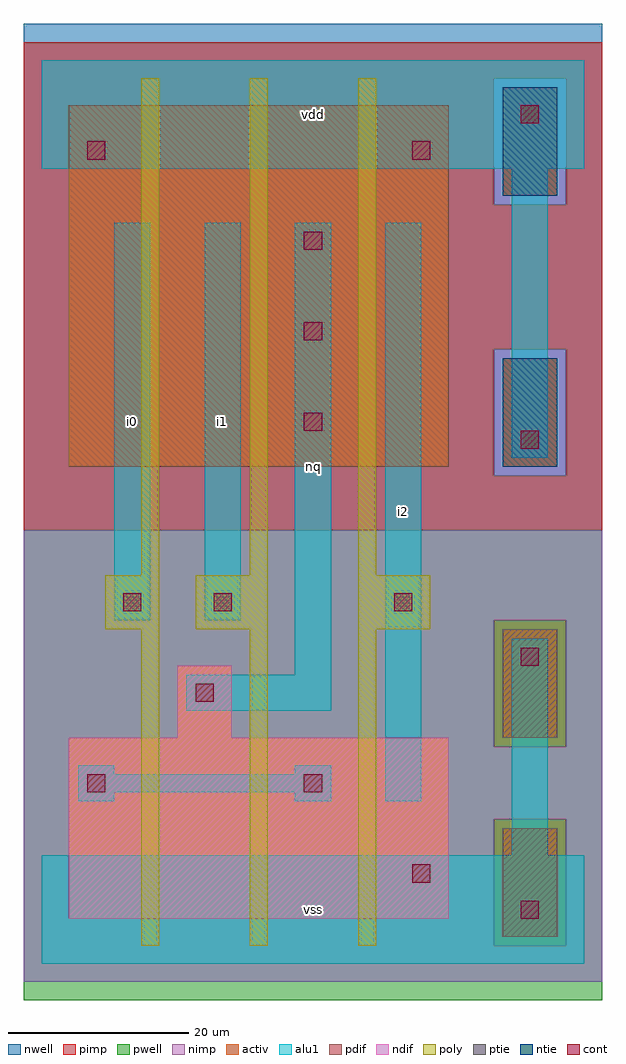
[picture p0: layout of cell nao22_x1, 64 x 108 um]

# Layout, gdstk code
import gdstk
lib = gdstk.Library(unit=1e-6, precision=1e-09)
def R(c, l, rs):  # rectangles x0, y0, x1, y1
    for r in rs: c.add(gdstk.rectangle(r[:2], r[2:], *l))
def A(c, l, x, y, w, h, nx, ny, dx, dy):  # array of equal rectangles
    R(c, l, [(x+i*dx, y+j*dy, x+i*dx+w, y+j*dy+h) for i in range(nx) for j in range(ny)])
ndif = (3, 0)
pdif = (4, 0)
ntie = (5, 0)
ptie = (6, 0)
cont = (25, 0)
pwell = (41, 0)
nwell = (42, 0)
activ = (43, 0)
pimp = (44, 0)
nimp = (45, 0)
poly = (46, 0)
alu1 = (49, 0)

nao22_x1 = lib.new_cell('nao22_x1')
R(nao22_x1, ndif, [(3,5,45,25), (15,25,21,33)])
R(nao22_x1, pdif, [(3,55,45,95)])
R(nao22_x1, ntie, [(51,55,57,67), (51,85,57,97)])
R(nao22_x1, ptie, [(51,3,57,15), (51,25,57,37)])
A(nao22_x1, cont, 29, 59, 2, 2, 1, 3, 0, 10)
R(nao22_x1, cont, [(53,5,55,7), (41,9,43,11), (5,19,7,21), (29,19,31,21), (17,29,19,31), (53,33,55,35), (9,39,11,41), (19,39,21,41), (39,39,41,41), (53,57,55,59), (5,89,7,91), (41,89,43,91), (53,93,55,95)])
R(nao22_x1, pwell, [(-2,-4,62,48)])
R(nao22_x1, nwell, [(-2,48,62,104)])
A(nao22_x1, activ, 51, 25, 6, 12, 1, 3, 0, 30)
R(nao22_x1, activ, [(51,3,57,15), (3,5,45,25), (15,25,21,33), (3,55,45,95)])
R(nao22_x1, pimp, [(50,2,58,16), (50,24,58,38), (-2,48,62,54), (-2,54,50,68), (58,54,62,68), (-2,68,62,84), (-2,84,50,98), (58,84,62,98), (-2,98,62,102)])
R(nao22_x1, nimp, [(-2,-2,62,2), (-2,2,50,16), (58,2,62,16), (-2,16,62,24), (-2,24,50,38), (58,24,62,38), (-2,38,62,48), (50,54,58,68), (50,84,58,98)])
A(nao22_x1, poly, 11, 2, 2, 35, 3, 1, 12, 0)
A(nao22_x1, poly, 11, 43, 2, 55, 3, 1, 12, 0)
R(nao22_x1, poly, [(7,37,13,43), (17,37,25,43), (35,37,43,43)])
R(nao22_x1, alu1, [(0,0,60,12), (52,12,56,36), (4,18,8,19), (28,18,32,19), (38,18,42,82), (4,19,32,21), (4,21,8,22), (28,21,32,22), (16,28,32,32), (28,32,32,82), (8,38,12,82), (18,38,22,82), (52,56,56,88), (0,88,60,100)])
nao22_x1.add(gdstk.Label('i0', (10,60), layer=49, texttype=0))
nao22_x1.add(gdstk.Label('i1', (20,60), layer=49, texttype=0))
nao22_x1.add(gdstk.Label('vss', (30,6), layer=49, texttype=0))
nao22_x1.add(gdstk.Label('i2', (40,50), layer=49, texttype=0))
nao22_x1.add(gdstk.Label('nq', (30,55), layer=49, texttype=0))
nao22_x1.add(gdstk.Label('vdd', (30,94), layer=49, texttype=0))

lib.write_gds('nao22_x1.gds')
